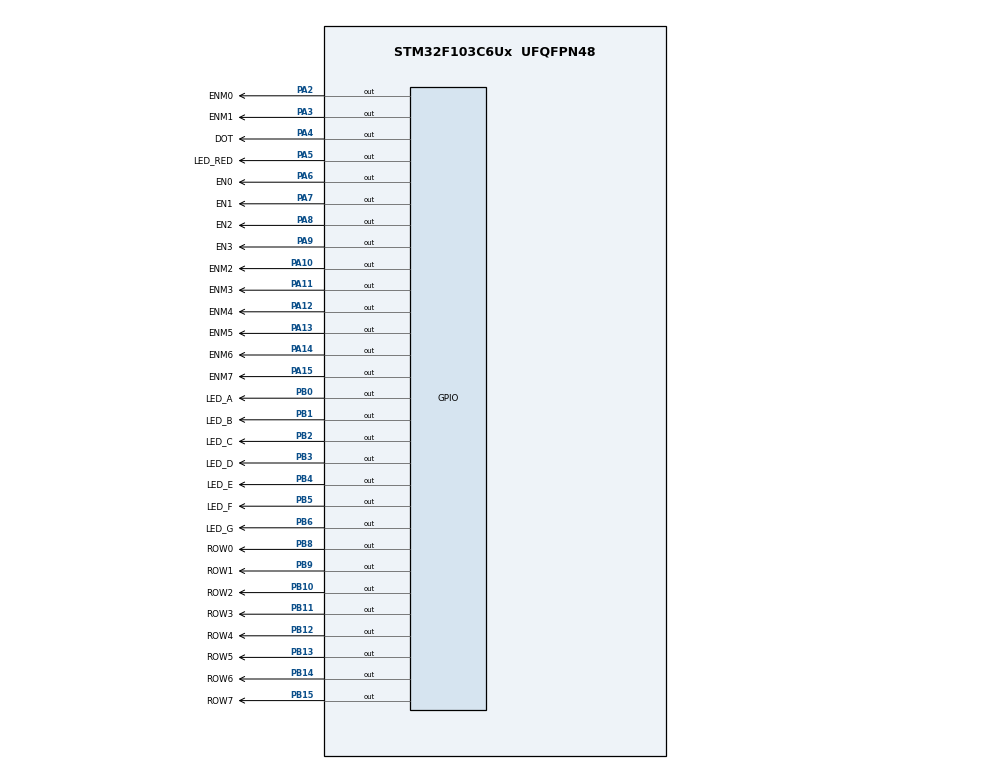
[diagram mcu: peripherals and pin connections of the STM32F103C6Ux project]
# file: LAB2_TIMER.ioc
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Mcu.Family=STM32F1
Mcu.Name=STM32F103C6Ux
Mcu.Package=UFQFPN48
<<<<<<< HEAD
=======
>>>>>>> ex9
NVIC.PriorityGroup=NVIC_PRIORITYGROUP_4
NVIC.TIM2_IRQn=true\:0\:0\:false\:false\:true\:true\:true
<<<<<<< HEAD
PA4.GPIO_Label=DOT
PA4.Signal=GPIO_Output
=======
PA10.GPIO_Label=ENM2
PA10.Signal=GPIO_Output
PA11.GPIO_Label=ENM3
PA11.Signal=GPIO_Output
PA12.GPIO_Label=ENM4
PA12.Signal=GPIO_Output
PA13.GPIO_Label=ENM5
PA13.Signal=GPIO_Output
PA14.GPIO_Label=ENM6
PA14.Signal=GPIO_Output
PA15.GPIO_Label=ENM7
PA15.Signal=GPIO_Output
PA2.GPIO_Label=ENM0
PA2.Signal=GPIO_Output
PA3.GPIO_Label=ENM1
PA3.Signal=GPIO_Output
>>>>>>> ex9
PA5.GPIO_Label=LED_RED
PA5.Signal=GPIO_Output
<<<<<<< HEAD
PA6.GPIO_Label=EN0
PA6.Signal=GPIO_Output
PA7.GPIO_Label=EN1
PA7.Signal=GPIO_Output
PA8.GPIO_Label=EN2
PA8.Signal=GPIO_Output
PA9.GPIO_Label=EN3
PA9.Signal=GPIO_Output
PB0.GPIO_Label=LED_A
PB0.Signal=GPIO_Output
PB1.GPIO_Label=LED_B
PB1.Signal=GPIO_Output
PB2.GPIO_Label=LED_C
PB2.Signal=GPIO_Output
PB3.GPIO_Label=LED_D
PB3.Signal=GPIO_Output
PB4.GPIO_Label=LED_E
PB4.Signal=GPIO_Output
PB5.GPIO_Label=LED_F
PB5.Signal=GPIO_Output
PB6.GPIO_Label=LED_G
PB6.Signal=GPIO_Output
=======
PB10.GPIO_Label=ROW2
PB10.Signal=GPIO_Output
PB11.GPIO_Label=ROW3
PB11.Signal=GPIO_Output
PB12.GPIO_Label=ROW4
PB12.Signal=GPIO_Output
PB13.GPIO_Label=ROW5
PB13.Signal=GPIO_Output
PB14.GPIO_Label=ROW6
PB14.Signal=GPIO_Output
PB15.GPIO_Label=ROW7
PB15.Signal=GPIO_Output
PB8.GPIO_Label=ROW0
PB8.Signal=GPIO_Output
PB9.GPIO_Label=ROW1
PB9.Signal=GPIO_Output
>>>>>>> ex9
ProjectManager.HeapSize=0x200
ProjectManager.StackSize=0x400
ProjectManager.TargetToolchain=STM32CubeIDE
<<<<<<< HEAD
=======
>>>>>>> ex9
RCC.APB1Freq_Value=8000000
RCC.APB2Freq_Value=8000000
TIM2.Period=9
TIM2.Prescaler=7999
VP_SYS_VS_ND.Mode=No_Debug
VP_TIM2_VS_ClockSourceINT.Mode=Internal
board=custom

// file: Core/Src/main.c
/* USER CODE BEGIN Header */
/**
  ******************************************************************************
  * @file           : main.c
  * @brief          : Main program body
  ******************************************************************************
  * @attention
  *
  * <h2><center>&copy; Copyright (c) 2024 STMicroelectronics.
  * All rights reserved.</center></h2>
  *
  * This software component is licensed by ST under BSD 3-Clause license,
  * the "License"; You may not use this file except in compliance with the
  * License. You may obtain a copy of the License at:
  *                        opensource.org/licenses/BSD-3-Clause
  *
  ******************************************************************************
  */
/* USER CODE END Header */
#include "main.h"
#include "software_timer.h"
#include "display7SEG.h"
#include "update7SEG.h"
#include "updateClockBuffer.h"

TIM_HandleTypeDef htim2;

void SystemClock_Config(void);
static void MX_TIM2_Init(void);
static void MX_GPIO_Init(void);

int main(void)
{

  /* MCU Configuration--------------------------------------------------------*/

  /* Reset of all peripherals, Initializes the Flash interface and the Systick. */
  HAL_Init();

  /* Configure the system clock */
  SystemClock_Config();

  /* Initialize all configured peripherals */
  MX_TIM2_Init();
  MX_GPIO_Init();
  /* USER CODE BEGIN 2 */
  HAL_TIM_Base_Start_IT(&htim2);
  /* USER CODE END 2 */

  /* Infinite loop */
  /* USER CODE BEGIN WHILE */
  setTimer(0,2);
  setTimer(1,3);
  setTimer(2,5);
  int hour = 15, minute = 8, second = 50;
  while (1)
  {

	  if(timer_flag[0] == 1){
		  setTimer(0,100);
		  HAL_GPIO_TogglePin(LED_RED_GPIO_Port, LED_RED_Pin);
		  HAL_GPIO_TogglePin(DOT_GPIO_Port, DOT_Pin);
	  }
	  if(timer_flag[1] == 1){
		  setTimer(1, 25);
		  update7SEG(index_led++);
			if(index_led >= MAX_LED){
				index_led = 0;
			}
	  }

	  if(timer_flag[2] == 1){
		  setTimer(2, 100);

		  second++;
		         if (second >= 60) {
		             second = 0;
		             minute++;
		         }
		         if(minute >= 60) {
		             minute = 0;
		             hour++;
		         }
		         if(hour >= 24) {
		             hour = 0;
		         }
		  updateClockBuffer(hour, minute);

	  }

    /* USER CODE END WHILE */

  }
}

void SystemClock_Config(void)
{
  RCC_OscInitTypeDef RCC_OscInitStruct = {0};
  RCC_ClkInitTypeDef RCC_ClkInitStruct = {0};

  /** Initializes the RCC Oscillators according to the specified parameters
  * in the RCC_OscInitTypeDef structure.
  */
  RCC_OscInitStruct.OscillatorType = RCC_OSCILLATORTYPE_HSI;
  RCC_OscInitStruct.HSIState = RCC_HSI_ON;
  RCC_OscInitStruct.HSICalibrationValue = RCC_HSICALIBRATION_DEFAULT;
  RCC_OscInitStruct.PLL.PLLState = RCC_PLL_NONE;
  if (HAL_RCC_OscConfig(&RCC_OscInitStruct) != HAL_OK)
  {
    Error_Handler();
  }
  /** Initializes the CPU, AHB and APB buses clocks
  */
  RCC_ClkInitStruct.ClockType = RCC_CLOCKTYPE_HCLK|RCC_CLOCKTYPE_SYSCLK
                              |RCC_CLOCKTYPE_PCLK1|RCC_CLOCKTYPE_PCLK2;
  RCC_ClkInitStruct.SYSCLKSource = RCC_SYSCLKSOURCE_HSI;
  RCC_ClkInitStruct.AHBCLKDivider = RCC_SYSCLK_DIV1;
  RCC_ClkInitStruct.APB1CLKDivider = RCC_HCLK_DIV1;
  RCC_ClkInitStruct.APB2CLKDivider = RCC_HCLK_DIV1;

  if (HAL_RCC_ClockConfig(&RCC_ClkInitStruct, FLASH_LATENCY_0) != HAL_OK)
  {
    Error_Handler();
  }
}

static void MX_TIM2_Init(void)
{

  TIM_ClockConfigTypeDef sClockSourceConfig = {0};
  TIM_MasterConfigTypeDef sMasterConfig = {0};

  htim2.Instance = TIM2;
  htim2.Init.Prescaler = 7999;
  htim2.Init.CounterMode = TIM_COUNTERMODE_UP;
  htim2.Init.Period = 9;
  htim2.Init.ClockDivision = TIM_CLOCKDIVISION_DIV1;
  htim2.Init.AutoReloadPreload = TIM_AUTORELOAD_PRELOAD_DISABLE;
  if (HAL_TIM_Base_Init(&htim2) != HAL_OK)
  {
    Error_Handler();
  }
  sClockSourceConfig.ClockSource = TIM_CLOCKSOURCE_INTERNAL;
  if (HAL_TIM_ConfigClockSource(&htim2, &sClockSourceConfig) != HAL_OK)
  {
    Error_Handler();
  }
  sMasterConfig.MasterOutputTrigger = TIM_TRGO_RESET;
  sMasterConfig.MasterSlaveMode = TIM_MASTERSLAVEMODE_DISABLE;
  if (HAL_TIMEx_MasterConfigSynchronization(&htim2, &sMasterConfig) != HAL_OK)
  {
    Error_Handler();
  }

}

static void MX_GPIO_Init(void)
{
  GPIO_InitTypeDef GPIO_InitStruct = {0};

  /* GPIO Ports Clock Enable */
  __HAL_RCC_GPIOA_CLK_ENABLE();
  __HAL_RCC_GPIOB_CLK_ENABLE();

  /*Configure GPIO pin Output Level */
<<<<<<< HEAD
  HAL_GPIO_WritePin(GPIOA, DOT_Pin|LED_RED_Pin|EN0_Pin|EN1_Pin
                          |EN2_Pin|EN3_Pin, GPIO_PIN_RESET);

  /*Configure GPIO pin Output Level */
  HAL_GPIO_WritePin(GPIOB, LED_A_Pin|LED_B_Pin|LED_C_Pin|LED_D_Pin
                          |LED_E_Pin|LED_F_Pin|LED_G_Pin, GPIO_PIN_RESET);

  /*Configure GPIO pins : DOT_Pin LED_RED_Pin EN0_Pin EN1_Pin
                           EN2_Pin EN3_Pin */
  GPIO_InitStruct.Pin = DOT_Pin|LED_RED_Pin|EN0_Pin|EN1_Pin
                          |EN2_Pin|EN3_Pin;
=======
  HAL_GPIO_WritePin(GPIOA, ENM0_Pin|ENM1_Pin|LED_RED_Pin|ENM2_Pin
                          |ENM3_Pin|ENM4_Pin|ENM5_Pin|ENM6_Pin
                          |ENM7_Pin, GPIO_PIN_RESET);

  /*Configure GPIO pin Output Level */
  HAL_GPIO_WritePin(GPIOB, ROW2_Pin|ROW3_Pin|ROW4_Pin|ROW5_Pin
                          |ROW6_Pin|ROW7_Pin|ROW0_Pin|ROW1_Pin, GPIO_PIN_RESET);

  /*Configure GPIO pins : ENM0_Pin ENM1_Pin LED_RED_Pin ENM2_Pin
                           ENM3_Pin ENM4_Pin ENM5_Pin ENM6_Pin
                           ENM7_Pin */
  GPIO_InitStruct.Pin = ENM0_Pin|ENM1_Pin|LED_RED_Pin|ENM2_Pin
                          |ENM3_Pin|ENM4_Pin|ENM5_Pin|ENM6_Pin
                          |ENM7_Pin;
>>>>>>> ex9
  GPIO_InitStruct.Mode = GPIO_MODE_OUTPUT_PP;
  GPIO_InitStruct.Pull = GPIO_NOPULL;
  GPIO_InitStruct.Speed = GPIO_SPEED_FREQ_LOW;
  HAL_GPIO_Init(GPIOA, &GPIO_InitStruct);

<<<<<<< HEAD
  /*Configure GPIO pins : LED_A_Pin LED_B_Pin LED_C_Pin LED_D_Pin
                           LED_E_Pin LED_F_Pin LED_G_Pin */
  GPIO_InitStruct.Pin = LED_A_Pin|LED_B_Pin|LED_C_Pin|LED_D_Pin
                          |LED_E_Pin|LED_F_Pin|LED_G_Pin;
=======
  /*Configure GPIO pins : ROW2_Pin ROW3_Pin ROW4_Pin ROW5_Pin
                           ROW6_Pin ROW7_Pin ROW0_Pin ROW1_Pin */
  GPIO_InitStruct.Pin = ROW2_Pin|ROW3_Pin|ROW4_Pin|ROW5_Pin
                          |ROW6_Pin|ROW7_Pin|ROW0_Pin|ROW1_Pin;
>>>>>>> ex9
  GPIO_InitStruct.Mode = GPIO_MODE_OUTPUT_PP;
  GPIO_InitStruct.Pull = GPIO_NOPULL;
  GPIO_InitStruct.Speed = GPIO_SPEED_FREQ_LOW;
  HAL_GPIO_Init(GPIOB, &GPIO_InitStruct);

}

/* USER CODE BEGIN 4 */

void HAL_TIM_PeriodElapsedCallback(TIM_HandleTypeDef *htim){
	timerRun();
}

/* USER CODE END 4 */

void Error_Handler(void)
{
  __disable_irq();
  while (1)
  {
  }
}

/************************ (C) COPYRIGHT STMicroelectronics *****END OF FILE****/
